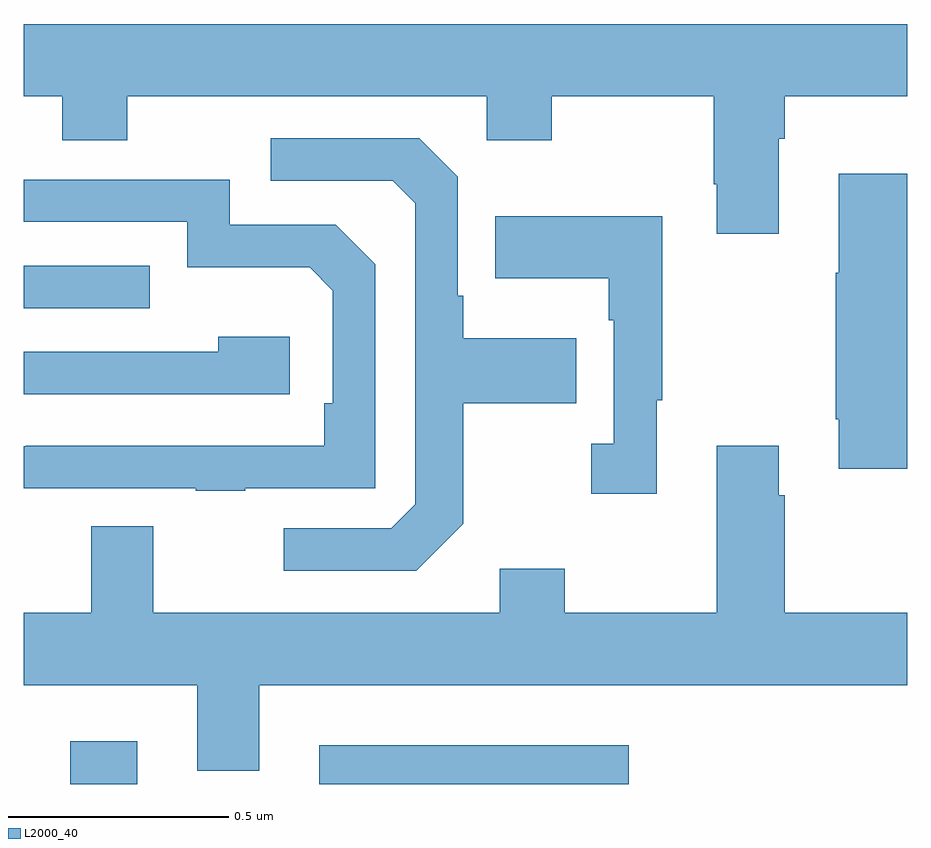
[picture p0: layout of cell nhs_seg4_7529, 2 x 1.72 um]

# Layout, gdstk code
import gdstk
lib = gdstk.Library(unit=1e-6, precision=1e-09)
def R(c, l, rs):  # rectangles x0, y0, x1, y1
    for r in rs: c.add(gdstk.rectangle(r[:2], r[2:], *l))
def P(c, l, *ps):  # polygons
    for p in ps: c.add(gdstk.Polygon(p, *l))
L2000_40 = (2000, 40)

nhs_seg4_7529 = lib.new_cell('nhs_seg4_7529')
R(nhs_seg4_7529, L2000_40, [(203.105,825.9,203.257,825.997), (203.669,825.9,204.37,825.988), (203,826.977,203.285,827.073)])
P(nhs_seg4_7529, L2000_40, [(204.709,827.36),(204.722,827.36),(204.722,827.456),(205,827.456),(205,827.62),(203,827.62),(203,827.456),(203.087,827.456),(203.087,827.357),(203.235,827.357),(203.235,827.456),(204.048,827.456),(204.048,827.357),(204.195,827.357),(204.195,827.456),(204.562,827.456),(204.562,827.257),(204.569,827.257),(204.569,827.145),(204.709,827.145)],
  [(203.995,826.489),(203.995,826.762),(204.251,826.762),(204.251,826.909),(203.995,826.909),(203.995,827.005),(203.982,827.005),(203.982,827.274),(203.895,827.361),(203.559,827.361),(203.559,827.265),(203.835,827.265),(203.886,827.214),(203.886,826.533),(203.832,826.479),(203.589,826.479),(203.589,826.383),(203.889,826.383)],
  [(205,827.281),(204.845,827.281),(204.845,827.057),(204.838,827.057),(204.838,826.726),(204.845,826.726),(204.845,826.614),(205,826.614)],
  [(203.501,826.569),(203.796,826.569),(203.796,827.076),(203.706,827.166),(203.466,827.166),(203.466,827.268),(203,827.268),(203,827.172),(203.37,827.172),(203.37,827.069),(203.647,827.069),(203.7,827.016),(203.7,826.762),(203.68,826.762),(203.68,826.665),(203.005,826.665),(203.005,826.664),(203,826.664),(203,826.569),(203.389,826.569),(203.389,826.564),(203.501,826.564)],
  [(204.433,826.769),(204.445,826.769),(204.445,827.185),(204.067,827.185),(204.067,827.045),(204.324,827.045),(204.324,826.949),(204.336,826.949),(204.336,826.67),(204.285,826.67),(204.285,826.557),(204.433,826.557)],
  [(203.602,826.912),(203.441,826.912),(203.441,826.878),(203,826.878),(203,826.782),(203.602,826.782)],
  [(205,826.288),(204.722,826.288),(204.722,826.553),(204.709,826.553),(204.709,826.666),(204.569,826.666),(204.569,826.288),(204.225,826.288),(204.225,826.387),(204.077,826.387),(204.077,826.288),(203.293,826.288),(203.293,826.483),(203.153,826.483),(203.153,826.288),(203,826.288),(203,826.124),(203.393,826.124),(203.393,825.93),(203.533,825.93),(203.533,826.124),(205,826.124)])

lib.write_gds('nhs_seg4_7529.gds')
